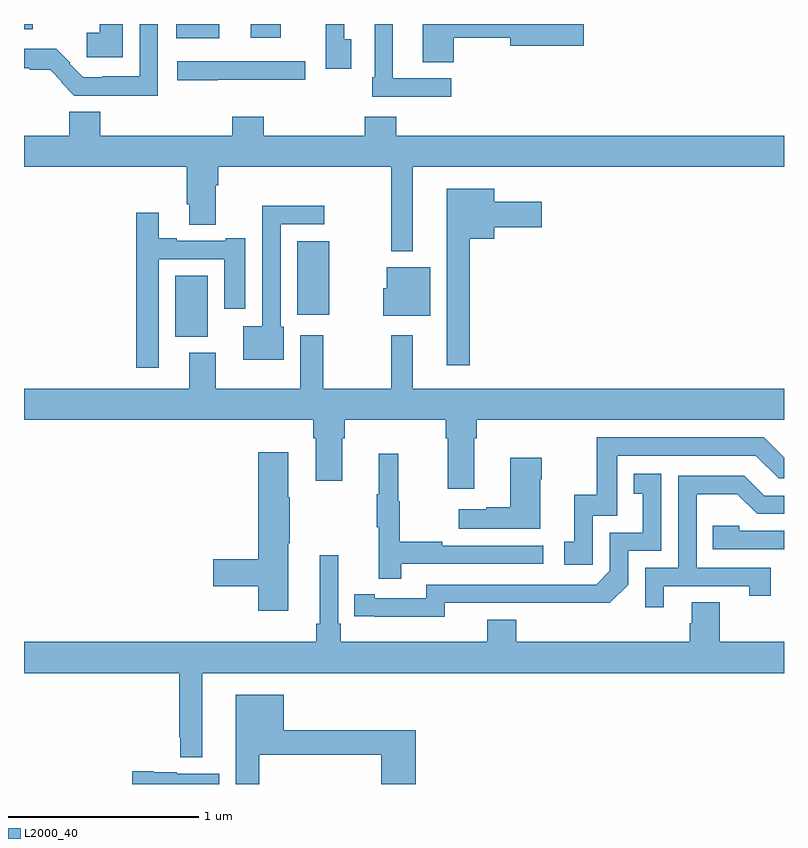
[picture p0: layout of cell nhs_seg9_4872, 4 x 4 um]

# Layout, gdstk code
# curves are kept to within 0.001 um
import gdstk
lib = gdstk.Library(unit=1e-6, precision=1e-09)
def R(c, l, rs):  # rectangles x0, y0, x1, y1
    for r in rs: c.add(gdstk.rectangle(r[:2], r[2:], *l))
def P(c, l, *ps):  # polygons
    for p in ps: c.add(gdstk.Polygon(p, *l))
L2000_40 = (2000, 40)

nhs_seg9_4872 = lib.new_cell('nhs_seg9_4872')
R(nhs_seg9_4872, L2000_40, [(393.797,1200.854,393.967,1201.174), (394.439,1200.971,394.606,1201.357), (393.8,1202.426,394.027,1202.5), (394.193,1202.427,394.351,1202.5), (393,1202.472,393.046,1202.5)])
P(nhs_seg9_4872, L2000_40, [(394.723,1202.421),(394.686,1202.421),(394.686,1202.5),(394.588,1202.5),(394.588,1202.265),(394.723,1202.265)],
  [(395.248,1202.214),(394.942,1202.214),(394.942,1202.411),(394.941,1202.411),(394.941,1202.5),(394.845,1202.5),(394.845,1202.221),(394.833,1202.221),(394.833,1202.118),(395.248,1202.118)],
  [(395.262,1202.428),(395.558,1202.428),(395.558,1202.386),(395.947,1202.386),(395.947,1202.5),(395.099,1202.5),(395.099,1202.299),(395.262,1202.299)],
  [(393.52,1202.5),(393.398,1202.5),(393.398,1202.455),(393.33,1202.455),(393.33,1202.326),(393.52,1202.326)],
  [(393.705,1202.5),(393.609,1202.5),(393.609,1202.224),(393.412,1202.224),(393.412,1202.22),(393.312,1202.22),(393.24,1202.292),(393.243,1202.295),(393.169,1202.369),(393,1202.369),(393,1202.267),(393.029,1202.267),(393.029,1202.259),(393.137,1202.259),(393.199,1202.197),(393.195,1202.193),(393.265,1202.123),(393.705,1202.123)],
  [(394.019,1202.207),(394.48,1202.207),(394.48,1202.304),(393.807,1202.304),(393.807,1202.203),(394.019,1202.203)],
  [(395.047,1201.748),(397,1201.748),(397,1201.912),(394.958,1201.912),(394.958,1202.011),(394.793,1202.011),(394.793,1201.912),(394.262,1201.912),(394.262,1202.011),(394.097,1202.011),(394.097,1201.912),(393.4,1201.912),(393.4,1202.038),(393.239,1202.038),(393.239,1201.912),(393,1201.912),(393,1201.748),(393.857,1201.748),(393.857,1201.552),(393.869,1201.552),(393.869,1201.444),(394.009,1201.444),(394.009,1201.652),(394.022,1201.652),(394.022,1201.748),(394.933,1201.748),(394.933,1201.304),(395.047,1201.304)],
  [(395.347,1201.37),(395.476,1201.37),(395.476,1201.43),(395.725,1201.43),(395.725,1201.564),(395.476,1201.564),(395.476,1201.633),(395.225,1201.633),(395.225,1200.705),(395.347,1200.705)],
  [(394.366,1200.906),(394.35,1200.906),(394.35,1201.446),(394.579,1201.446),(394.579,1201.544),(394.254,1201.544),(394.254,1200.91),(394.154,1200.91),(394.154,1200.734),(394.366,1200.734)],
  [(393.708,1201.263),(394.055,1201.263),(394.055,1201.002),(394.165,1201.002),(394.165,1201.372),(394.061,1201.372),(394.061,1201.359),(393.805,1201.359),(393.805,1201.372),(393.709,1201.372),(393.709,1201.507),(393.592,1201.507),(393.592,1200.69),(393.708,1200.69)],
  [(395.137,1201.219),(394.91,1201.219),(394.91,1201.11),(394.892,1201.11),(394.892,1200.965),(395.137,1200.965)],
  [(395.371,1200.32),(395.384,1200.32),(395.384,1200.416),(397,1200.416),(397,1200.58),(395.047,1200.58),(395.047,1200.862),(394.933,1200.862),(394.933,1200.58),(394.575,1200.58),(394.575,1200.862),(394.454,1200.862),(394.454,1200.58),(394.009,1200.58),(394.009,1200.769),(393.869,1200.769),(393.869,1200.58),(393,1200.58),(393,1200.416),(394.523,1200.416),(394.523,1200.32),(394.535,1200.32),(394.535,1200.096),(394.675,1200.096),(394.675,1200.32),(394.688,1200.32),(394.688,1200.416),(395.219,1200.416),(395.219,1200.32),(395.231,1200.32),(395.231,1200.054),(395.371,1200.054)],
  [(395.994,1199.913),(396.123,1199.913),(396.123,1200.228),(396.852,1200.228),(396.972,1200.108),(397,1200.108),(397,1200.218),(396.894,1200.324),(396.015,1200.324),(396.015,1200.022),(395.897,1200.022),(395.897,1199.775),(395.844,1199.775),(395.844,1199.655),(395.994,1199.655)],
  [(394.39,1199.767),(394.398,1199.767),(394.398,1200.008),(394.39,1200.008),(394.39,1200.247),(394.232,1200.247),(394.232,1199.684),(393.996,1199.684),(393.996,1199.542),(394.232,1199.542),(394.232,1199.412),(394.39,1199.412)],
  [(394.985,1199.658),(395.734,1199.658),(395.734,1199.754),(395.201,1199.754),(395.201,1199.774),(394.978,1199.774),(394.978,1199.988),(394.97,1199.988),(394.97,1200.238),(394.868,1200.238),(394.868,1200.025),(394.857,1200.025),(394.857,1199.851),(394.868,1199.851),(394.868,1199.58),(394.985,1199.58)],
  [(395.716,1200.104),(395.724,1200.104),(395.724,1200.217),(395.558,1200.217),(395.558,1199.957),(395.432,1199.957),(395.432,1199.947),(395.289,1199.947),(395.289,1199.843),(395.716,1199.843)],
  [(395.214,1199.454),(396.082,1199.453),(396.18,1199.55),(396.18,1199.727),(396.354,1199.727),(396.354,1200.133),(396.208,1200.133),(396.208,1200.027),(396.257,1200.027),(396.257,1199.823),(396.084,1199.823),(396.084,1199.622),(396.012,1199.55),(395.118,1199.55),(395.118,1199.478),(394.846,1199.478),(394.846,1199.498),(394.738,1199.498),(394.738,1199.382),(395.214,1199.381)],
  [(396.367,1199.541),(396.818,1199.541),(396.818,1199.49),(396.929,1199.49),(396.929,1199.637),(396.54,1199.637),(396.54,1200.026),(396.754,1200.026),(396.858,1199.922),(397,1199.922),(397,1200.018),(396.895,1200.018),(396.79,1200.123),(396.444,1200.123),(396.444,1199.637),(396.27,1199.637),(396.27,1199.43),(396.367,1199.43)],
  [(397,1199.832),(396.765,1199.832),(396.765,1199.859),(396.625,1199.859),(396.625,1199.736),(397,1199.736)],
  [(393.937,1199.084),(397,1199.084),(397,1199.248),(396.663,1199.248),(396.663,1199.456),(396.515,1199.456),(396.515,1199.346),(396.503,1199.346),(396.503,1199.248),(395.591,1199.248),(395.591,1199.365),(395.438,1199.365),(395.438,1199.248),(394.667,1199.248),(394.667,1199.344),(394.653,1199.344),(394.653,1199.704),(394.556,1199.704),(394.556,1199.344),(394.537,1199.344),(394.537,1199.248),(393,1199.248),(393,1199.084),(393.816,1199.084),(393.816,1198.747),(393.823,1198.747),(393.823,1198.64),(393.937,1198.64)],
  [(394.237,1198.654),(394.88,1198.654),(394.88,1198.5),(395.063,1198.5),(395.063,1198.783),(394.366,1198.783),(394.366,1198.969),(394.115,1198.969),(394.115,1198.5),(394.237,1198.5)],
  [(394.027,1198.555),(393.804,1198.555),(393.804,1198.561),(393.682,1198.561),(393.682,1198.568),(393.57,1198.568),(393.57,1198.5),(394.027,1198.5)])

lib.write_gds('nhs_seg9_4872.gds')
